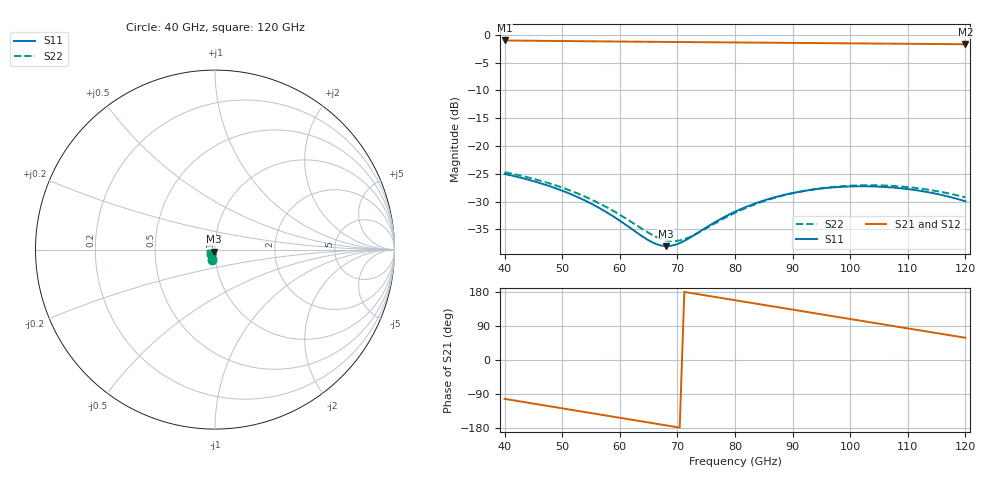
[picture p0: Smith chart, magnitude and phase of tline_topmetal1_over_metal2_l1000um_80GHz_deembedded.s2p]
! Created with skrf 2.2.0 (http://scikit-rf.org).
# GHz S DB R 50.0
! Port[1] = P1
! Port[2] = P2
!freq dBS11 angS11 dBS21 angS21 dBS12 angS12 dBS22 angS22
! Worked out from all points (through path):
!   101 points, 40 GHz to 120 GHz, reference 50 ohm
!   highest |S21| = -1.00 dB at 40 GHz (marker M1); lowest = -1.7 dB at 120 GHz (marker M2)
!   group delay of S21, straight-line fit = 6.9 ps
!   lowest |S11| = -38.0 dB at 68 GHz (marker M3), VSWR 1.03, Z = 49.5 - j1.16 ohm
!   |S11| at or under -10 dB: start of sweep to end of sweep
!   |S22| runs from -37.1 to -24.7 dB; largest |S21 - S12| = 5e-16
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40  -25.03 -108.6  -1.00 -102.5  -1.00 -102.5  -24.70 -108.4
43.2  -25.81 -116.8  -1.03 -110.6  -1.03 -110.6  -25.42 -116.5
46.4  -26.75 -124.4  -1.06 -118.6  -1.06 -118.6  -26.29 -124.1
49.6  -27.88 -131.3  -1.10 -126.6  -1.10 -126.6  -27.34 -131.0
53.6  -29.63 -138.4  -1.13 -136.5  -1.13 -136.5  -28.94 -138.2
57.6  -31.85 -142.5  -1.17 -146.5  -1.17 -146.5  -30.94 -142.7
60.8  -34.00 -141.7  -1.20 -154.5  -1.20 -154.5  -32.87 -143.0
64.8  -36.84 -130.7  -1.23 -164.4  -1.23 -164.4  -35.50 -135.4
67.2  -37.91 -116.8  -1.25 -170.4  -1.25 -170.4  -36.73 -124.7
68  -38.02 -111.4  -1.26 -172.4  -1.26 -172.4  -36.98 -120.2
69.6  -37.78 -100.9  -1.27 -176.4  -1.27 -176.4  -37.11 -110.7
72  -36.60 -88.6  -1.29 177.7  -1.29 177.7  -36.44 -97.8
76  -34.02 -79.9  -1.32 167.7  -1.32 167.7  -34.21 -85.9
80  -31.81 -80.1  -1.36 157.8  -1.36 157.8  -32.02 -83.9
86.4  -29.36 -88.0  -1.41 141.9  -1.41 141.9  -29.47 -89.8
93.6  -27.82 -101.0  -1.46 124.0  -1.46 124.0  -27.80 -101.5
97.6  -27.40 -108.8  -1.50 114.1  -1.50 114.1  -27.30 -108.8
100.8  -27.25 -115.1  -1.52 106.2  -1.52 106.2  -27.10 -114.8
104  -27.27 -121.3  -1.55 98.2  -1.55 98.2  -27.05 -120.7
107.2  -27.45 -127.4  -1.58 90.3  -1.58 90.3  -27.16 -126.5
113.6  -28.32 -138.7  -1.63 74.5  -1.63 74.5  -27.86 -137.2
120  -29.94 -147.4  -1.68 58.7  -1.68 58.7  -29.23 -145.5
